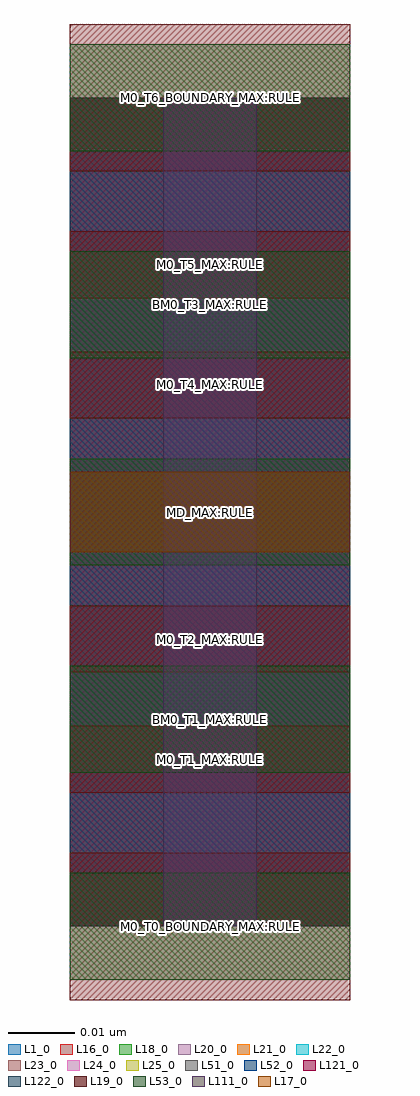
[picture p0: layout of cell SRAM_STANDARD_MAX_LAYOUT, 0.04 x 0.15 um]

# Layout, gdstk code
import gdstk
lib = gdstk.Library(unit=1e-6, precision=1e-09)
def R(c, l, rs):  # rectangles x0, y0, x1, y1
    for r in rs: c.add(gdstk.rectangle(r[:2], r[2:], *l))
def A(c, l, x, y, w, h, nx, ny, dx, dy):  # array of equal rectangles
    R(c, l, [(x+i*dx, y+j*dy, x+i*dx+w, y+j*dy+h) for i in range(nx) for j in range(ny)])
L1_0 = (1, 0)
L16_0 = (16, 0)
L17_0 = (17, 0)
L18_0 = (18, 0)
L19_0 = (19, 0)
L20_0 = (20, 0)
L21_0 = (21, 0)
L22_0 = (22, 0)
L23_0 = (23, 0)
L24_0 = (24, 0)
L25_0 = (25, 0)
L51_0 = (51, 0)
L52_0 = (52, 0)
L53_0 = (53, 0)
L111_0 = (111, 0)
L121_0 = (121, 0)
L122_0 = (122, 0)

sram_standard_max_layout = lib.new_cell('SRAM_STANDARD_MAX_LAYOUT')
R(sram_standard_max_layout, L1_0, [(0,0,0.042,0.124)])
R(sram_standard_max_layout, L16_0, [(0,0,0.042,0.124)])
R(sram_standard_max_layout, L17_0, [(0,0.056,0.042,0.068)])
R(sram_standard_max_layout, L18_0, [(0,0,0.042,0.124)])
R(sram_standard_max_layout, L19_0, [(0,-0.011,0.042,0.011), (0,0.02,0.042,0.03), (0,0.038,0.042,0.048), (0,0.056,0.042,0.068), (0,0.076,0.042,0.086), (0,0.094,0.042,0.104), (0,0.113,0.042,0.135)])
R(sram_standard_max_layout, L20_0, [(0,0,0.042,0.124)])
R(sram_standard_max_layout, L21_0, [(0,0,0.042,0.124)])
R(sram_standard_max_layout, L22_0, [(0,0,0.042,0.124)])
R(sram_standard_max_layout, L23_0, [(0,0,0.042,0.124)])
R(sram_standard_max_layout, L24_0, [(0,0,0.042,0.124)])
R(sram_standard_max_layout, L25_0, [(0,0,0.042,0.124)])
R(sram_standard_max_layout, L51_0, [(0,0,0.042,0.124)])
R(sram_standard_max_layout, L52_0, [(0,0,0.042,0.124)])
A(sram_standard_max_layout, L53_0, 0, -0.008, 0.042, 0.016, 1, 5, 0, 0.031)
R(sram_standard_max_layout, L111_0, [(0.014,0,0.028,0.124)])
R(sram_standard_max_layout, L121_0, [(0,0,0.042,0.124)])
R(sram_standard_max_layout, L122_0, [(0,0,0.042,0.124)])
sram_standard_max_layout.add(gdstk.Label('MD_MAX:RULE', (0.021,0.062), layer=16, texttype=0))
sram_standard_max_layout.add(gdstk.Label('MRW_MAX:RULE', (0.021,0.062), layer=17, texttype=0))
sram_standard_max_layout.add(gdstk.Label('V0_MAX:RULE', (0.021,0.062), layer=18, texttype=0))
sram_standard_max_layout.add(gdstk.Label('M0_T0_BOUNDARY_MAX:RULE', (0.021,0), layer=19, texttype=0))
sram_standard_max_layout.add(gdstk.Label('M0_T1_MAX:RULE', (0.021,0.025), layer=19, texttype=0))
sram_standard_max_layout.add(gdstk.Label('M0_T2_MAX:RULE', (0.021,0.043), layer=19, texttype=0))
sram_standard_max_layout.add(gdstk.Label('M0_T3_MERGED_MAX:RULE', (0.021,0.062), layer=19, texttype=0))
sram_standard_max_layout.add(gdstk.Label('M0_T4_MAX:RULE', (0.021,0.081), layer=19, texttype=0))
sram_standard_max_layout.add(gdstk.Label('M0_T5_MAX:RULE', (0.021,0.099), layer=19, texttype=0))
sram_standard_max_layout.add(gdstk.Label('M0_T6_BOUNDARY_MAX:RULE', (0.021,0.124), layer=19, texttype=0))
sram_standard_max_layout.add(gdstk.Label('V1_MAX:RULE', (0.021,0.062), layer=20, texttype=0))
sram_standard_max_layout.add(gdstk.Label('M1_MAX:RULE', (0.021,0.062), layer=21, texttype=0))
sram_standard_max_layout.add(gdstk.Label('V2_MAX:RULE', (0.021,0.062), layer=22, texttype=0))
sram_standard_max_layout.add(gdstk.Label('M2_MAX:RULE', (0.021,0.062), layer=23, texttype=0))
sram_standard_max_layout.add(gdstk.Label('V3_MAX:RULE', (0.021,0.062), layer=24, texttype=0))
sram_standard_max_layout.add(gdstk.Label('M3_MAX:RULE', (0.021,0.062), layer=25, texttype=0))
sram_standard_max_layout.add(gdstk.Label('BMD_MAX:RULE', (0.021,0.062), layer=51, texttype=0))
sram_standard_max_layout.add(gdstk.Label('BV0_MAX:RULE', (0.021,0.062), layer=52, texttype=0))
sram_standard_max_layout.add(gdstk.Label('BM0_T0_BOUNDARY_MAX:RULE', (0.021,0), layer=53, texttype=0))
sram_standard_max_layout.add(gdstk.Label('BM0_T1_MAX:RULE', (0.021,0.031), layer=53, texttype=0))
sram_standard_max_layout.add(gdstk.Label('BM0_T2_MERGED_MAX:RULE', (0.021,0.062), layer=53, texttype=0))
sram_standard_max_layout.add(gdstk.Label('BM0_T3_MAX:RULE', (0.021,0.093), layer=53, texttype=0))
sram_standard_max_layout.add(gdstk.Label('BM0_T4_BOUNDARY_MAX:RULE', (0.021,0.124), layer=53, texttype=0))
sram_standard_max_layout.add(gdstk.Label('GATE_COLUMN_0_MAX:RULE', (0.021,0.062), layer=111, texttype=0))
sram_standard_max_layout.add(gdstk.Label('NFET_SD_MAX:RULE', (0.021,0.062), layer=121, texttype=0))
sram_standard_max_layout.add(gdstk.Label('PFET_SD_MAX:RULE', (0.021,0.062), layer=122, texttype=0))

lib.write_gds('SRAM_STANDARD_MAX_LAYOUT.gds')
